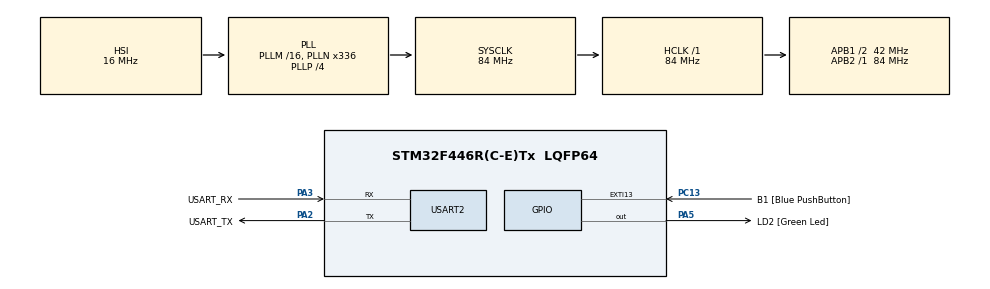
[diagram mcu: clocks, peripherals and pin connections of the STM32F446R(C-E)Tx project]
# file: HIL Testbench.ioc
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Mcu.Family=STM32F4
Mcu.Name=STM32F446R(C-E)Tx
Mcu.Package=LQFP64
NVIC.PriorityGroup=NVIC_PRIORITYGROUP_0
PA13.GPIO_Label=TMS
PA13.Mode=Serial_Wire
PA13.Signal=SYS_JTMS-SWDIO
PA14.GPIO_Label=TCK
PA14.Mode=Serial_Wire
PA14.Signal=SYS_JTCK-SWCLK
PA2.GPIO_Label=USART_TX
PA2.Mode=Asynchronous
PA2.Signal=USART2_TX
PA3.GPIO_Label=USART_RX
PA3.Mode=Asynchronous
PA3.Signal=USART2_RX
PA5.GPIO_Label=LD2 [Green Led]
PA5.Signal=GPIO_Output
PB3.GPIO_Label=SWO
PB3.Signal=SYS_JTDO-SWO
PC13.GPIO_Label=B1 [Blue PushButton]
PC13.GPIO_ModeDefaultEXTI=GPIO_MODE_IT_FALLING
PC13.Signal=GPXTI13
PC14-OSC32_IN.Mode=LSE-External-Oscillator
PC14-OSC32_IN.Signal=RCC_OSC32_IN
PC15-OSC32_OUT.Mode=LSE-External-Oscillator
PC15-OSC32_OUT.Signal=RCC_OSC32_OUT
PH0-OSC_IN.Mode=HSE-External-Oscillator
PH0-OSC_IN.Signal=RCC_OSC_IN
PH1-OSC_OUT.Mode=HSE-External-Oscillator
PH1-OSC_OUT.Signal=RCC_OSC_OUT
ProjectManager.HeapSize=0x200
ProjectManager.StackSize=0x400
ProjectManager.TargetToolchain=STM32CubeIDE
RCC.48MHZClocksFreq_Value=84000000
RCC.AHBFreq_Value=84000000
RCC.APB1CLKDivider=RCC_HCLK_DIV2
RCC.APB1Freq_Value=42000000
RCC.APB1TimFreq_Value=84000000
RCC.APB2Freq_Value=84000000
RCC.APB2TimFreq_Value=84000000
RCC.CortexFreq_Value=84000000
RCC.FLatency-AdvancedSettings=FLASH_LATENCY_2
RCC.HCLKFreq_Value=84000000
RCC.HSE_VALUE=8000000
RCC.HSI_VALUE=16000000
RCC.PLLN=336
RCC.PLLP=RCC_PLLP_DIV4
RCC.SYSCLKFreq_VALUE=84000000
RCC.SYSCLKSource=RCC_SYSCLKSOURCE_PLLCLK
RCC.USBFreq_Value=168000000
RCC.VCOOutputFreq_Value=336000000
USART2.VirtualMode=VM_ASYNC
board=NUCLEO-F446RE

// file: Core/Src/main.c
/* USER CODE BEGIN Header */
/**
  ******************************************************************************
  * @file           : main.c
  * @brief          : Main program body
  ******************************************************************************
  * @attention
  *
  * Copyright (c) 2026 STMicroelectronics.
  * All rights reserved.
  *
  * This software is licensed under terms that can be found in the LICENSE file
  * in the root directory of this software component.
  * If no LICENSE file comes with this software, it is provided AS-IS.
  *
  ******************************************************************************
  */
/* USER CODE END Header */
#include "main.h"
#include <string.h>
#include <stdio.h>

UART_HandleTypeDef huart2;

/* USER CODE BEGIN PV */
static uint8_t rx_ch;
static char rx_line[64];
static uint32_t rx_len = 0;

static void uart_send(const char *s) {
  HAL_UART_Transmit(&huart2, (uint8_t*)s, (uint16_t)strlen(s), HAL_MAX_DELAY);
}

static void dwt_init(void) {
  CoreDebug->DEMCR |= CoreDebug_DEMCR_TRCENA_Msk;
  DWT->CYCCNT = 0;
  DWT->CTRL |= DWT_CTRL_CYCCNTENA_Msk;
}
/* USER CODE END PV */

void SystemClock_Config(void);
static void MX_GPIO_Init(void);
static void MX_USART2_UART_Init(void);
/* USER CODE BEGIN PFP */
static void handle_line(const char *line) {
  if (strcmp(line, "PING") == 0) {
    uart_send("OK\n");

  } else if (strcmp(line, "RESET") == 0) {
    DWT->CYCCNT = 0;
    uart_send("OK\n");

  } else if (strcmp(line, "TOGGLE") == 0) {
	  __disable_irq();
      uint32_t t0 = DWT->CYCCNT;
      HAL_GPIO_TogglePin(LD2_GPIO_Port, LD2_Pin);
      uint32_t t1 = DWT->CYCCNT;
      __enable_irq();
      uint32_t cycles = t1 - t0;
      uint64_t ns = ((uint64_t)cycles * 1000000000ULL) / SystemCoreClock;

      char buf[48];
      snprintf(buf, sizeof(buf), "LATENCY_NS %lu CYCLES %lu\n",
               (unsigned long)ns, (unsigned long)cycles);
      uart_send(buf);
  } else {
    uart_send("ERR\n");
  }
}
/* USER CODE END PFP */

int main(void)
{

  /* MCU Configuration--------------------------------------------------------*/

  /* Reset of all peripherals, Initializes the Flash interface and the Systick. */
  HAL_Init();

  /* Configure the system clock */
  SystemClock_Config();

  /* Initialize all configured peripherals */
  MX_GPIO_Init();
  MX_USART2_UART_Init();
  /* USER CODE BEGIN 2 */
  dwt_init();
  /* USER CODE END 2 */

  /* Infinite loop */
  while (1)
  {

    /* USER CODE BEGIN 3 */
    HAL_StatusTypeDef st = HAL_UART_Receive(&huart2, &rx_ch, 1, 10);
    if (st == HAL_OK) {
      if (rx_ch == '\n' || rx_ch == '\r') {
        if (rx_len > 0) {
          rx_line[rx_len] = '\0';
          handle_line(rx_line);
          rx_len = 0;
        }
      } else {
        if (rx_len < sizeof(rx_line) - 1) {
          rx_line[rx_len++] = (char)rx_ch;
        } else {
          rx_len = 0;
          uart_send("ERR_OVERFLOW\n");
        }
      }
    }
    /* USER CODE END 3 */
  }
}

void SystemClock_Config(void)
{
  RCC_OscInitTypeDef RCC_OscInitStruct = {0};
  RCC_ClkInitTypeDef RCC_ClkInitStruct = {0};

  /** Configure the main internal regulator output voltage
  */
  __HAL_RCC_PWR_CLK_ENABLE();
  __HAL_PWR_VOLTAGESCALING_CONFIG(PWR_REGULATOR_VOLTAGE_SCALE3);

  /** Initializes the RCC Oscillators according to the specified parameters
  * in the RCC_OscInitTypeDef structure.
  */
  RCC_OscInitStruct.OscillatorType = RCC_OSCILLATORTYPE_HSI;
  RCC_OscInitStruct.HSIState = RCC_HSI_ON;
  RCC_OscInitStruct.HSICalibrationValue = RCC_HSICALIBRATION_DEFAULT;
  RCC_OscInitStruct.PLL.PLLState = RCC_PLL_ON;
  RCC_OscInitStruct.PLL.PLLSource = RCC_PLLSOURCE_HSI;
  RCC_OscInitStruct.PLL.PLLM = 16;
  RCC_OscInitStruct.PLL.PLLN = 336;
  RCC_OscInitStruct.PLL.PLLP = RCC_PLLP_DIV4;
  RCC_OscInitStruct.PLL.PLLQ = 2;
  RCC_OscInitStruct.PLL.PLLR = 2;
  if (HAL_RCC_OscConfig(&RCC_OscInitStruct) != HAL_OK)
  {
    Error_Handler();
  }

  /** Initializes the CPU, AHB and APB buses clocks
  */
  RCC_ClkInitStruct.ClockType = RCC_CLOCKTYPE_HCLK|RCC_CLOCKTYPE_SYSCLK
                              |RCC_CLOCKTYPE_PCLK1|RCC_CLOCKTYPE_PCLK2;
  RCC_ClkInitStruct.SYSCLKSource = RCC_SYSCLKSOURCE_PLLCLK;
  RCC_ClkInitStruct.AHBCLKDivider = RCC_SYSCLK_DIV1;
  RCC_ClkInitStruct.APB1CLKDivider = RCC_HCLK_DIV2;
  RCC_ClkInitStruct.APB2CLKDivider = RCC_HCLK_DIV1;

  if (HAL_RCC_ClockConfig(&RCC_ClkInitStruct, FLASH_LATENCY_2) != HAL_OK)
  {
    Error_Handler();
  }
}

static void MX_USART2_UART_Init(void)
{

  huart2.Instance = USART2;
  huart2.Init.BaudRate = 115200;
  huart2.Init.WordLength = UART_WORDLENGTH_8B;
  huart2.Init.StopBits = UART_STOPBITS_1;
  huart2.Init.Parity = UART_PARITY_NONE;
  huart2.Init.Mode = UART_MODE_TX_RX;
  huart2.Init.HwFlowCtl = UART_HWCONTROL_NONE;
  huart2.Init.OverSampling = UART_OVERSAMPLING_16;
  if (HAL_UART_Init(&huart2) != HAL_OK)
  {
    Error_Handler();
  }

}

static void MX_GPIO_Init(void)
{
  GPIO_InitTypeDef GPIO_InitStruct = {0};

  /* GPIO Ports Clock Enable */
  __HAL_RCC_GPIOC_CLK_ENABLE();
  __HAL_RCC_GPIOH_CLK_ENABLE();
  __HAL_RCC_GPIOA_CLK_ENABLE();
  __HAL_RCC_GPIOB_CLK_ENABLE();

  /*Configure GPIO pin Output Level */
  HAL_GPIO_WritePin(LD2_GPIO_Port, LD2_Pin, GPIO_PIN_RESET);

  /*Configure GPIO pin : B1_Pin */
  GPIO_InitStruct.Pin = B1_Pin;
  GPIO_InitStruct.Mode = GPIO_MODE_IT_FALLING;
  GPIO_InitStruct.Pull = GPIO_NOPULL;
  HAL_GPIO_Init(B1_GPIO_Port, &GPIO_InitStruct);

  /*Configure GPIO pin : LD2_Pin */
  GPIO_InitStruct.Pin = LD2_Pin;
  GPIO_InitStruct.Mode = GPIO_MODE_OUTPUT_PP;
  GPIO_InitStruct.Pull = GPIO_NOPULL;
  GPIO_InitStruct.Speed = GPIO_SPEED_FREQ_LOW;
  HAL_GPIO_Init(LD2_GPIO_Port, &GPIO_InitStruct);

}

void Error_Handler(void)
{
  __disable_irq();
  while (1)
  {
  }
}
